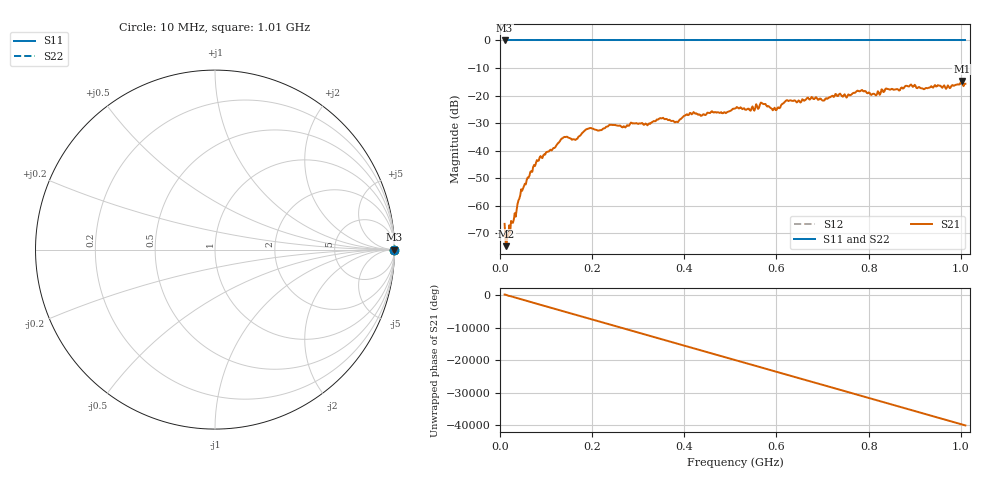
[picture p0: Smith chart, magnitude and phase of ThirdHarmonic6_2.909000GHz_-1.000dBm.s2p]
! 8/17/2025 8:03:47 AM
! C:\ANRITSUVNA\TEMP\TEMP.S2P
! CHANNEL.1
! TR.MEASUREMENT
! RAW.DATA
! RF.CORRECTION.OFF
! AVERAGING.OFF
! IF.BANDWIDTH: 5KHZ
! SWEEPTYPE:  FREQ.SWEEP(Linear)
! Reference Plane Port Info
! PORT:  PORT1  PORT2
! DISTANCE:  0  m  0  m
! TIME:  0  s  0  s
! PHASE.OFFSET:  0  deg.  0  deg.
! LOSS:  0  dB  0  dB
! REF.LOSS:  0  dB  0  dB
! REF.FREQ:  0  Hz  0  Hz
! Power Info
! POWER:  -20  dBm  -20  dBm
! EFF.POWER:  -20  dBm  -20  dBm
! SOURCE.ATTEN:  0  dB  0  dB
! TEST.ATTEN:  0  dB  0  dB
# GHZ S RI R 50.0
! FREQ.GHZ  S11RE  S11IM  S21RE  S21IM  S12RE  S12IM  S22RE  S22IM
!; PortSelection: Port_12
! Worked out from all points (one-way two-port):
!   501 points, 10 MHz to 1.01 GHz, reference 50 ohm
!   highest |S21| = -14.73 dB at 1.002 GHz (marker M1); lowest = -74.6 dB at 14 MHz (marker M2)
!   lowest |S11| = 0.0 dB at 10 MHz (marker M3)
!   |S11| at or under -10 dB: nowhere
!   |S22| runs from 0.0 to 0.0 dB; largest |S21 - S12| = 1.2
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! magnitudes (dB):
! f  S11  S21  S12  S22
! 10 MHz  0.0  -66.6  0.0  0.0
! 14 MHz  0.0  -74.6  0.0  0.0
! 32 MHz  0.0  -62.7  0.0  0.0
! 50 MHz  0.0  -53.7  0.0  0.0
! 84 MHz  0.0  -43.6  0.0  0.0
! 136 MHz  0.0  -35.5  0.0  0.0
! 164 MHz  0.0  -36.1  0.0  0.0
! 178 MHz  0.0  -33.6  0.0  0.0
! 194 MHz  0.0  -31.8  0.0  0.0
! 322 MHz  0.0  -30.3  0.0  0.0
! 344 MHz  0.0  -28.6  0.0  0.0
! 382 MHz  0.0  -29.5  0.0  0.0
! 416 MHz  0.0  -26.8  0.0  0.0
! 510 MHz  0.0  -24.7  0.0  0.0
! 548 MHz  0.0  -23.9  0.0  0.0
! 570 MHz  0.0  -22.9  0.0  0.0
! 596 MHz  0.0  -24.4  0.0  0.0
! 622 MHz  0.0  -21.7  0.0  0.0
! 678 MHz  0.0  -20.7  0.0  0.0
! 844 MHz  0.0  -17.7  0.0  0.0
! 1.002 GHz  0.0  -14.7  0.0  0.0
! 1.01 GHz  0.0  -15.7  0.0  0.0
